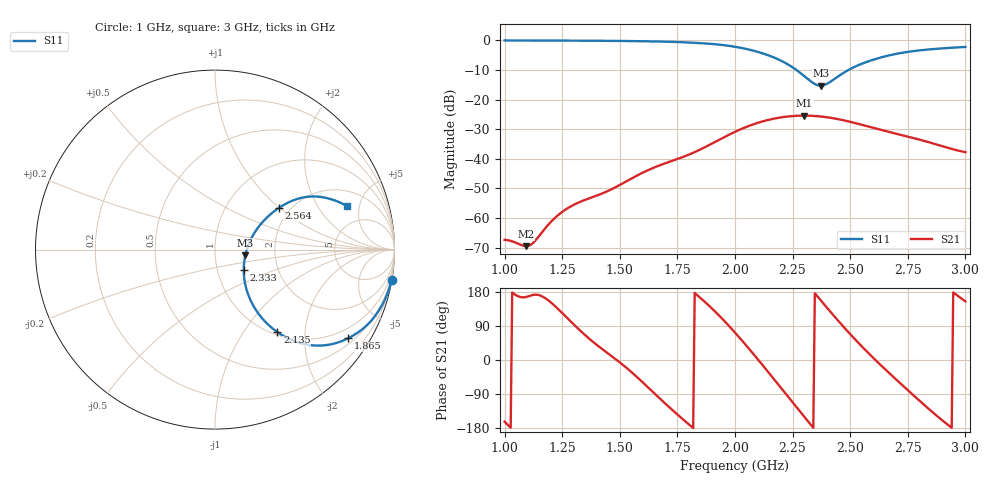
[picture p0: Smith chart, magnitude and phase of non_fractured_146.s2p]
! TOUCHSTONE file generated by CST MICROWAVE STUDIO
! Date and time: Sat Mar  8 13:55:01 2025
! Project name: non_fractured.cst
! Parameters = {B=2.5; D=160; F=25; Feed=2.85625; L=100; M=10; R=0.384908; S=1; Theta=90; length=57.125; wave=114.25}
! Header version: 2024
! Port assignment regex: !\s*Touchstone port\s*([0-9]+)\s*=\s*(CST MWS port|CST DES external port|CST DES block port)\s*(.+)\s* \(\"(.*)\"\)(\s*mode\s*([0-9]+))?.*
! Touchstone port assignment:
! Touchstone port 1 = CST MWS port 1 ("")
! Touchstone port 2 = CST MWS port 2 ("")
# GHz S DB R 50
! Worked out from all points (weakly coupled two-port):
!   304 points, 1 GHz to 3 GHz, reference 50 ohm
!   highest |S21| = -25.42 dB at 2.3 GHz (marker M1); lowest = -69.5 dB at 1.092 GHz (marker M2)
!   lowest |S11| = -15.3 dB at 2.373 GHz (marker M3), VSWR 1.41, Z = 70.1 - j4.61 ohm
!   |S11| at or under -10 dB: 2.267 GHz to 2.492 GHz (226 MHz wide, 9.5 % of centre)
!   S12 and S22 are empty: the file has one direction only
!   S11 on the Smith chart (normalised r, x): 1 GHz: 0, -12; 1.865 GHz: 0.66, -3.19; 2.135 GHz: 1.05, -1.45; 2.333 GHz: 1.34, -0.32; 2.564 GHz: 1.75, +0.98; 3 GHz: 3.14, +3.77
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1  -0.02 -9.8  -67.41 -162.6  -200.00 0.0  -200.00 0.0
1.09241  -0.03 -11.0  -69.55 166.2  -200.00 0.0  -200.00 0.0
1.12541  -0.04 -11.5  -68.31 171.8  -200.00 0.0  -200.00 0.0
1.19142  -0.05 -12.6  -62.14 156.6  -200.00 0.0  -200.00 0.0
1.23762  -0.06 -13.4  -58.70 131.3  -200.00 0.0  -200.00 0.0
1.33663  -0.09 -15.2  -54.28 72.7  -200.00 0.0  -200.00 0.0
1.44884  -0.14 -17.6  -50.88 17.4  -200.00 0.0  -200.00 0.0
1.66667  -0.37 -24.1  -42.41 -97.6  -200.00 0.0  -200.00 0.0
1.86469  -1.00 -33.6  -36.28 155.8  -200.00 0.0  -200.00 0.0
2.0033  -2.19 -43.5  -30.78 70.2  -200.00 0.0  -200.00 0.0
2.13531  -4.78 -52.9  -27.05 -25.1  -200.00 0.0  -200.00 0.0
2.22112  -7.73 -55.9  -25.78 -89.8  -200.00 0.0  -200.00 0.0
2.30033  -12.06 -48.0  -25.42 -149.5  -200.00 0.0  -200.00 0.0
2.33333  -14.11 -35.6  -25.49 -174.1  -200.00 0.0  -200.00 0.0
2.33993  -14.45 -32.1  -25.52 -178.9  -200.00 0.0  -200.00 0.0
2.37294  -15.30 -10.7  -25.73 156.8  -200.00 0.0  -200.00 0.0
2.39934  -14.67 6.1  -25.98 137.8  -200.00 0.0  -200.00 0.0
2.46535  -11.25 27.6  -26.90 91.5  -200.00 0.0  -200.00 0.0
2.56436  -7.48 33.1  -28.81 27.2  -200.00 0.0  -200.00 0.0
2.66997  -5.05 31.0  -30.99 -34.9  -200.00 0.0  -200.00 0.0
2.82178  -3.20 24.3  -33.98 -118.9  -200.00 0.0  -200.00 0.0
3  -2.22 18.1  -37.78 154.8  -200.00 0.0  -200.00 0.0
